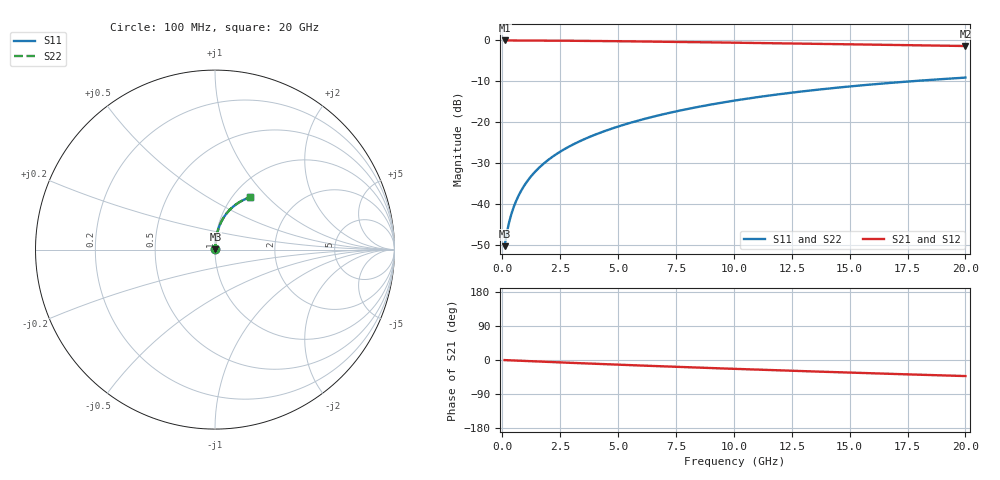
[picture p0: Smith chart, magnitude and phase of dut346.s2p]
! Touchstone file exported from HFSS 2024.1.0
!  File:  C:/UserFiles/LocalFiles/RDL_TSV_Batchsim/temp_RDL_bottom_346_1779612138.aedt
!  Generated:  04:45:01 PM May 24, 2026
!  Design:  RDL_bottom
!  Project:  temp_RDL_bottom_346_1779612138
!  Setup:  Setup1
!  Solution:  Sweep
! Variables:
!  dtsv = 10.80580581um
!  hbump = 3um
!  htsv = 86.63um
!  ldown = 640.57um
!  lrdl = 100um
!  p = 40
!  p1 = 45.26um
!  rhole = 1um
!  t = 450um
!  tdown = 4.8um
!  trdl = 3.915915916um
!  wdown = 21.1um
!  wrdl = 20um
# GHz S MA R 50.000000
! Terminal data exported
! Port[1] = RDL1_T1
! Port[2] = RDL1_T2
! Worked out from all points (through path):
!   200 points, 100 MHz to 20 GHz, reference 50 ohm
!   highest |S21| = -0.02 dB at 100 MHz (marker M1); lowest = -1.4 dB at 20 GHz (marker M2)
!   group delay of S21, straight-line fit = 5.84 ps
!   lowest |S11| = -50.2 dB at 100 MHz (marker M3), VSWR 1.01, Z = 50.2 + j0.195 ohm
!   |S11| at or under -10 dB: start of sweep to 17.6 GHz
!   |S22| runs from -50.2 to -9.1 dB; largest |S21 - S12| = 1.8e-14
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0.1  0.003095 38.9  0.9976 -0.3  0.9976 -0.3  0.003095 38.9
! Gamma 0 0 0 0
! Port Impedance 50 0 50 0
0.2  0.004564 55.8  0.9974 -0.5  0.9974 -0.5  0.004564 55.8
0.3  0.006148 63.9  0.9972 -0.8  0.9972 -0.8  0.006148 63.9
0.4  0.007762 68.8  0.9971 -1.0  0.9971 -1.0  0.007762 68.8
0.5  0.0094 72.1  0.9969 -1.3  0.9969 -1.3  0.0094 72.1
0.6  0.01106 74.4  0.9968 -1.5  0.9968 -1.5  0.01106 74.5
0.8  0.01442 77.6  0.9965 -2.1  0.9965 -2.1  0.01442 77.6
1.1  0.01955 80.2  0.9959 -2.8  0.9959 -2.8  0.01955 80.3
1.5  0.02645 82.0  0.9949 -3.8  0.9949 -3.8  0.02645 82.0
1.8  0.03166 82.7  0.9939 -4.6  0.9939 -4.6  0.03166 82.8
2.1  0.0369 83.2  0.9928 -5.3  0.9928 -5.3  0.0369 83.2
2.7  0.04745 83.5  0.9903 -6.8  0.9903 -6.8  0.04745 83.6
3.5  0.06168 83.4  0.9861 -8.8  0.9861 -8.8  0.06169 83.5
4.2  0.07431 83.1  0.9819 -10.5  0.9819 -10.5  0.07433 83.1
5  0.08897 82.4  0.9766 -12.3  0.9766 -12.3  0.08899 82.5
6.8  0.1228 80.3  0.9634 -16.4  0.9634 -16.4  0.1228 80.3
8.4  0.1533 77.8  0.9507 -19.9  0.9507 -19.9  0.1534 77.9
10.1  0.1858 74.8  0.9367 -23.5  0.9367 -23.5  0.1859 74.9
11.7  0.2157 71.8  0.9233 -26.8  0.9233 -26.8  0.2158 71.9
13.4  0.2465 68.5  0.9089 -30.2  0.9089 -30.2  0.2467 68.6
16.7  0.3022 62.2  0.881 -36.4  0.881 -36.4  0.3024 62.2
20  0.3515 56.0  0.8535 -42.4  0.8535 -42.4  0.3517 56.1
